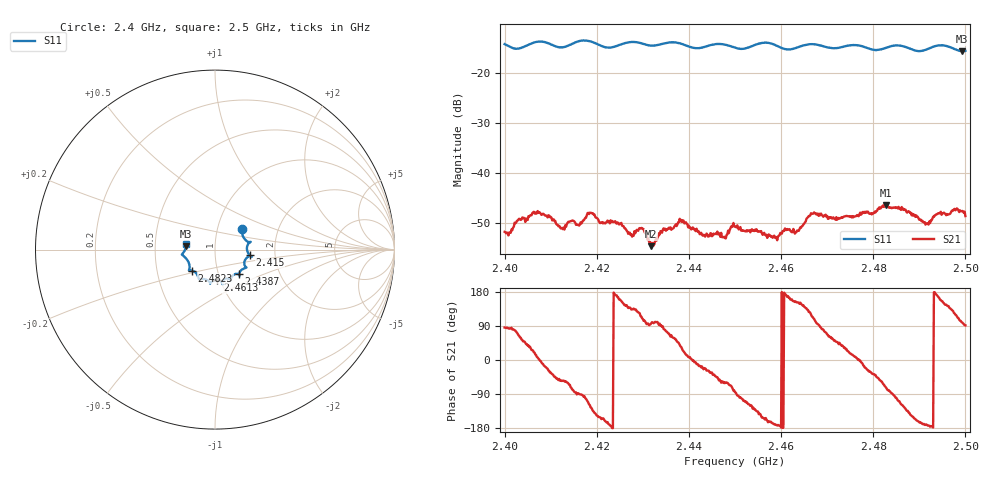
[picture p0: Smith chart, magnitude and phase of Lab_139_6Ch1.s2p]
# Hz S RI R 50
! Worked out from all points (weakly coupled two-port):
!   601 points, 2.4 GHz to 2.5 GHz, reference 50 ohm
!   highest |S21| = -46.37 dB at 2.4828 GHz (marker M1); lowest = -54.5 dB at 2.4318 GHz (marker M2)
!   lowest |S11| = -15.8 dB at 2.4993 GHz (marker M3), VSWR 1.39, Z = 36 + j1.3 ohm
!   |S11| at or under -10 dB: start of sweep to end of sweep
!   S12 and S22 are empty: the file has one direction only
!   S11 on the Smith chart (normalised r, x): 2.4 GHz: 1.32, +0.32; 2.415 GHz: 1.48, -0.10; 2.4387 GHz: 1.25, -0.36; 2.4613 GHz: 0.97, -0.34; 2.4823 GHz: 0.75, -0.18; 2.5 GHz: 0.72, +0.04
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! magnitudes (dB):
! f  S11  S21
! 2.4 GHz  -14.3  -51.7
! 2.4067 GHz  -14.0  -47.8
! 2.4125 GHz  -15.0  -50.9
! 2.415 GHz  -14.1  -49.5
! 2.4167 GHz  -13.7  -50.0
! 2.419 GHz  -13.9  -48.0
! 2.4275 GHz  -13.9  -52.1
! 2.4297 GHz  -14.2  -50.9
! 2.4318 GHz  -14.7  -54.5
! 2.4333 GHz  -14.5  -52.6
! 2.4387 GHz  -14.4  -49.4
! 2.4477 GHz  -14.4  -52.6
! 2.45 GHz  -15.1  -50.6
! 2.4587 GHz  -14.5  -52.8
! 2.4613 GHz  -15.4  -51.1
! 2.4667 GHz  -14.4  -48.1
! 2.4823 GHz  -15.2  -46.7
! 2.4828 GHz  -15.1  -46.4
! 2.4833 GHz  -14.9  -46.8
! 2.4915 GHz  -15.4  -50.0
! 2.4993 GHz  -15.8  -47.5
! 2.5 GHz  -15.7  -48.5
